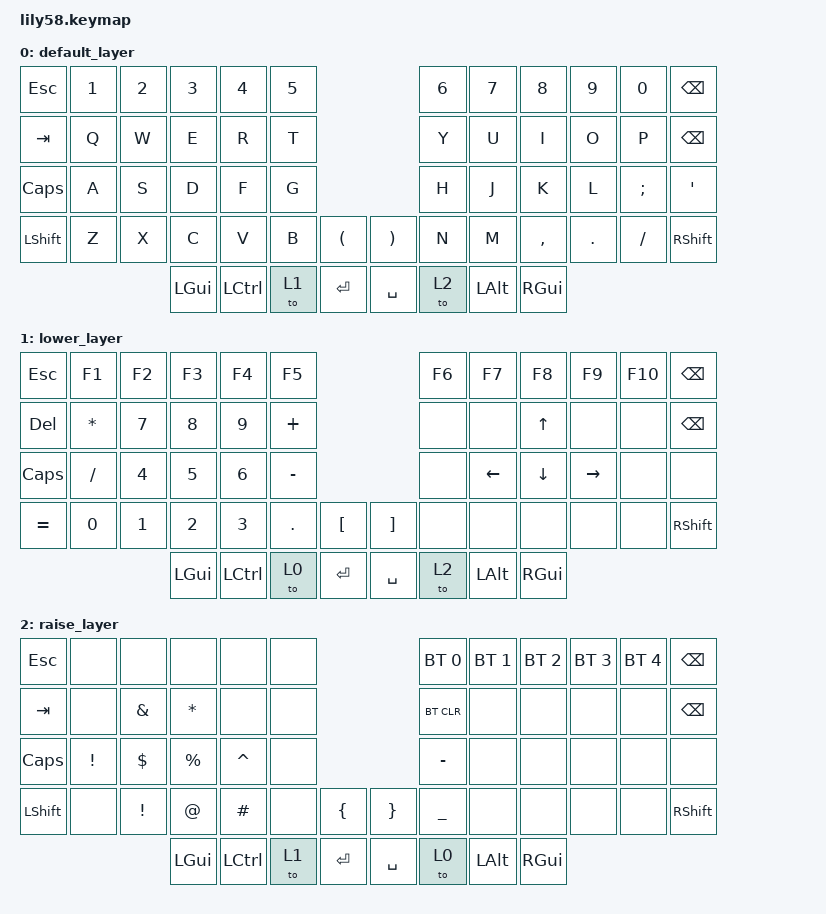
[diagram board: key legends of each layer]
/*
 * Copyright (c) 2020 The ZMK Contributors
 *
 * SPDX-License-Identifier: MIT
 */


#include <behaviors.dtsi>
#include <dt-bindings/zmk/keys.h>
#include <dt-bindings/zmk/bt.h>
#include <dt-bindings/zmk/ext_power.h>

/ {
    keymap {
        compatible = "zmk,keymap";

        default_layer {
            // ------------------------------------------------------------------------------------------------------------
            // |  ESC    |  1  |  2  |  3   |  4   |  5   |                   |  6   |  7    |  8    |  9   |   0   |  BSPC |
            // |  TAB    |  Q  |  W  |  E   |  R   |  T   |                   |  Y   |  U    |  I    |  O   |   P   |  BSPC |
            // |  CAPS   |  A  |  S  |  D   |  F   |  G   |                   |  H   |  J    |  K    |  L   |   ;   |   '   |
            // |  SHFT   |  Z  |  X  |  C   |  V   |  B   |  LPAR  |  |  RPAR |  N   |  M    |  ,    |  .   |   /   | SHIFT |
            //                        | GUI | CTRL | LOWER|  ENTER |  | SPACE | RAISE|   ALT |  GUI  |

            bindings = <
      &kp ESC    &kp N1  &kp N2    &kp N3     &kp N4    &kp N5                        &kp N6  &kp N7     &kp N8    &kp N9    &kp N0    &kp BSPC
      &kp TAB    &kp Q   &kp W     &kp E      &kp R     &kp T                         &kp Y   &kp U      &kp I     &kp O     &kp P     &kp BSPC
     &kp CAPS    &kp A   &kp S     &kp D      &kp F     &kp G                         &kp H   &kp J      &kp K     &kp L     &kp SEMI  &kp SQT
    &kp LSHFT    &kp Z   &kp X     &kp C      &kp V     &kp B  &kp LPAR     &kp RPAR  &kp N   &kp M      &kp COMMA &kp DOT   &kp FSLH  &kp RSHFT
                                   &kp LGUI   &kp LCTRL &to 1  &kp RET      &kp SPACE &to 2   &kp LALT   &kp RGUI
            >;

        };

        lower_layer {
            // ------------------------------------------------------------------------------------------------------------
            // |  ESC    |  F1 |  F2 |  F3  |  F4  |  F5  |                   |  F6  |   F7  |   F8  |  F9  |  F10  |  BSPC |
            // |  DEL    |  *  |  7  |  8   |  9   |   +  |                   |      |       |  UP   |      |       |  BSPC |
            // |  CAPS   |  /  |  4  |  5   |  6   |   -  |                   |      |  LFT  |  DOWN | RGT  |       |       |
            // |   =     |  0  |  1  |  2   |  3   |   .  |  LBKT  |  | RBKT  |      |       |       |      |       | SHIFT |
            //                       |      |      |      |        |  |       |      |       |       |

            bindings = <
           &kp ESC   &kp F1     &kp F2  &kp F3   &kp F4    &kp F5                          &kp F6 &kp F7   &kp F8   &kp F9    &kp F10 &kp BSPC
           &kp DEL   &kp STAR   &kp N7  &kp N8   &kp N9    &kp PLUS                        &none  &none    &kp UP   &none     &none   &kp BSPC
           &kp CAPS  &kp FSLH   &kp N4  &kp N5   &kp N6    &kp MINUS                       &none  &kp LEFT &kp DOWN &kp RIGHT &none   &none
           &kp EQUAL &kp N0     &kp N1  &kp N2   &kp N3    &kp DOT   &kp LBKT   &kp RBKT   &none  &none    &none    &none     &none   &kp RSHFT
                                             &kp LGUI &kp LCTRL &to 0     &kp RET    &kp SPACE  &to 2  &kp LALT &kp RGUI
            >;


        };

        raise_layer {
            // ------------------------------------------------------------------------------------------------------------
            // |  ESC   |         |        |      |       |      |                    |  BT1 |  BT2  |  BT3  | BT4  |  BT5  | BSPC  |
            // |  TAB   |         |    &   |   *  |       |      |                    |  BTC |       |       |      |       | BSPC  |
            // |  CAPS  |  !      |    $   |   %  |   ^   |      |                    |   -  |       |       |      |       |       |
            // |  SHFT  |         |    !   |   @  |   #   |      |  LBRC  |  |  RBRC  |   _  |       |       |      |       | SHIFT |
            //                             |      |       |      |       |  |         |      |       |       |
            bindings = <
             &kp ESC    &none     &none     &none          &none      &none                        &bt BT_SEL 0  &bt BT_SEL 1  &bt BT_SEL 2   &bt BT_SEL 3   &bt BT_SEL 4    &kp BSPC
             &kp TAB    &none     &kp AMPS   &kp STAR      &none      &none                        &bt BT_CLR    &none         &none          &none          &none           &kp BSPC
             &kp CAPS   &kp EXCL  &kp DOLLAR &kp PRCNT     &kp CARET  &none                        &kp MINUS     &none         &none          &none          &none           &none
             &kp LSHFT  &none     &kp EXCL   &kp AT        &kp HASH   &none    &kp LBRC  &kp RBRC  &kp UNDER     &none         &none          &none          &none           &kp RSHFT
                                               &kp LGUI     &kp LCTRL  &to 1    &kp RET   &kp SPACE &to 0        &kp LALT      &kp RGUI   
            >;


        };
    };
};
